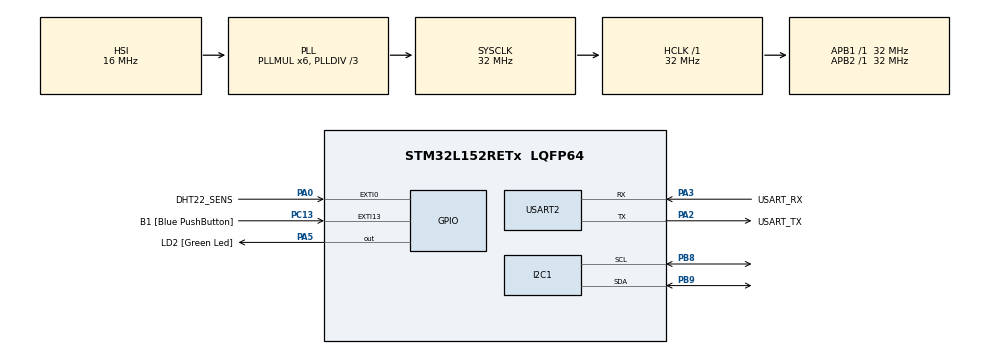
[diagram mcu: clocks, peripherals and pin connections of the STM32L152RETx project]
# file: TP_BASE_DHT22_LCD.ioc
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Mcu.Family=STM32L1
Mcu.Name=STM32L152RETx
Mcu.Package=LQFP64
NVIC.EXTI0_IRQn=true\:0\:0\:false\:false\:true\:true\:true
NVIC.I2C1_ER_IRQn=true\:0\:0\:false\:false\:true\:true\:true
NVIC.I2C1_EV_IRQn=true\:0\:0\:false\:false\:true\:true\:true
NVIC.PriorityGroup=NVIC_PRIORITYGROUP_0
NVIC.TIM7_IRQn=true\:0\:0\:false\:false\:true\:true\:true
PA0-WKUP1.GPIO_Label=DHT22_SENS
PA0-WKUP1.GPIO_PuPd=GPIO_PULLUP
PA0-WKUP1.Signal=GPXTI0
PA13.GPIO_Label=TMS
PA13.Mode=Serial_Wire
PA13.Signal=SYS_JTMS-SWDIO
PA14.GPIO_Label=TCK
PA14.Mode=Serial_Wire
PA14.Signal=SYS_JTCK-SWCLK
PA2.GPIO_Label=USART_TX
PA2.Mode=Asynchronous
PA2.Signal=USART2_TX
PA3.GPIO_Label=USART_RX
PA3.Mode=Asynchronous
PA3.Signal=USART2_RX
PA5.GPIO_Label=LD2 [Green Led]
PA5.Signal=GPIO_Output
PB3.GPIO_Label=SWO
PB3.Signal=SYS_JTDO-TRACESWO
PB8.GPIO_Pu=GPIO_PULLUP
PB8.Mode=I2C
PB8.Signal=I2C1_SCL
PB9.GPIO_Pu=GPIO_PULLUP
PB9.Mode=I2C
PB9.Signal=I2C1_SDA
PC13-WKUP2.GPIO_Label=B1 [Blue PushButton]
PC13-WKUP2.Signal=GPXTI13
PC14-OSC32_IN.Mode=LSE-External-Oscillator
PC14-OSC32_IN.Signal=RCC_OSC32_IN
PC15-OSC32_OUT.Mode=LSE-External-Oscillator
PC15-OSC32_OUT.Signal=RCC_OSC32_OUT
PH0-OSC_IN.Mode=HSE-External-Clock-Source
PH0-OSC_IN.Signal=RCC_OSC_IN
PH1-OSC_OUT.Signal=RCC_OSC_OUT
ProjectManager.HeapSize=0x200
ProjectManager.StackSize=0x400
ProjectManager.TargetToolchain=STM32CubeIDE
RCC.48MHZClocksFreq_Value=48000000
RCC.AHBFreq_Value=32000000
RCC.APB1Freq_Value=32000000
RCC.APB1TimFreq_Value=32000000
RCC.APB2Freq_Value=32000000
RCC.APB2TimFreq_Value=32000000
RCC.HCLKFreq_Value=32000000
RCC.HSE_VALUE=8000000
RCC.HSI_VALUE=16000000
RCC.MSI_VALUE=2097000
RCC.PLLDIV=RCC_PLL_DIV3
RCC.PLLMUL=RCC_PLL_MUL6
RCC.RTCClockSelectionVirtual=RCC_RTCCLKSOURCE_LSE
RCC.SYSCLKFreq_VALUE=32000000
RCC.SYSCLKSource=RCC_SYSCLKSOURCE_PLLCLK
RCC.USBOutput=48000000
RCC.VCOOutputFreq_Value=96000000
TIM7.Period=10-1
TIM7.Prescaler=32-1
USART2.VirtualMode=VM_ASYNC
VP_TIM7_VS_ClockSourceINT.Mode=Enable_Timer
board=NUCLEO-L152RE

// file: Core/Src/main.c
/* USER CODE BEGIN Header */
/**
  ******************************************************************************
  * @file           : main.c
  * @brief          : Main program body
  ******************************************************************************
  * @attention
  *
  * <h2><center>&copy; Copyright (c) 2021 STMicroelectronics.
  * All rights reserved.</center></h2>
  *
  * This software component is licensed by ST under BSD 3-Clause license,
  * the "License"; You may not use this file except in compliance with the
  * License. You may obtain a copy of the License at:
  *                        opensource.org/licenses/BSD-3-Clause
  *
  ******************************************************************************
  */
/* USER CODE END Header */
#include "main.h"
#include "i2c.h"
#include "tim.h"
#include "usart.h"
#include "gpio.h"

/* USER CODE BEGIN Includes */
#include "lib_lcd.h"
#include "DHT22.h"
#include <stdio.h>
/* USER CODE END Includes */

void SystemClock_Config(void);

int main(void)
{

  /* MCU Configuration--------------------------------------------------------*/

  /* Reset of all peripherals, Initializes the Flash interface and the Systick. */
  HAL_Init();

  /* Configure the system clock */
  SystemClock_Config();

  /* Initialize all configured peripherals */
  MX_GPIO_Init();
  MX_USART2_UART_Init();
  MX_I2C1_Init();
  MX_TIM7_Init();
  /* USER CODE BEGIN 2 */

	  /* INIT LCD */
	  rgb_lcd LCD_DataStruct;
	  LCD_DataStruct._displaycontrol = LCD_DISPLAYON;
	  LCD_DataStruct._displayfunction = LCD_2LINE;
	  LCD_DataStruct._displaymode = LCD_ENTRYLEFT;

	  lcd_init(&hi2c1, &LCD_DataStruct);

	  reglagecouleur(255,0,0);

	  /* INIT DHT22 */
	  DHT22_Init(&htim7, 32e6,DHT22_SENS_GPIO_Port,DHT22_SENS_Pin, DHT22_SENS_EXTI_IRQn);

	  /* TEST : Print measures on the LCD screen */
	  DHT22_Data DHT22_DataStruct;

	 	char text_buff1[32];
	 	sprintf(text_buff1,"  STM32 - TP");
	 	lcd_position(&hi2c1,0,0);
	 	lcd_print(&hi2c1, text_buff1);

	 	char text_buff2[32];
		sprintf(text_buff2, "  DHT22 - 1wire");
		lcd_position(&hi2c1,0,1);
		lcd_print(&hi2c1, text_buff2);
		HAL_Delay(1500);

		lcd_init(&hi2c1, &LCD_DataStruct);

  /* USER CODE END 2 */

  /* Infinite loop */
  while (1)
  {

	  reglagecouleur(125,0,0);
	  HAL_Delay(500);

	  DHT22_DataStruct = DHT22_ReadData();
	  if(DHT22_DataStruct.is_data_valid)
	  {
		  char text_buff[32];
		  sprintf(text_buff,"Temp : %.2f C",DHT22_DataStruct.T);
		  lcd_position(&hi2c1,0,0);
		  lcd_print(&hi2c1, text_buff);

		  sprintf(text_buff,"Hum  : %.2f %%",DHT22_DataStruct.RH);
		  lcd_position(&hi2c1,0,1);
		  lcd_print(&hi2c1, text_buff);

		  reglagecouleur(200,200,255);
		  HAL_Delay(750);
	  }

  }
}

void SystemClock_Config(void)
{
  RCC_OscInitTypeDef RCC_OscInitStruct = {0};
  RCC_ClkInitTypeDef RCC_ClkInitStruct = {0};

  /** Configure the main internal regulator output voltage
  */
  __HAL_PWR_VOLTAGESCALING_CONFIG(PWR_REGULATOR_VOLTAGE_SCALE1);
  /** Initializes the RCC Oscillators according to the specified parameters
  * in the RCC_OscInitTypeDef structure.
  */
  RCC_OscInitStruct.OscillatorType = RCC_OSCILLATORTYPE_HSI;
  RCC_OscInitStruct.HSIState = RCC_HSI_ON;
  RCC_OscInitStruct.HSICalibrationValue = RCC_HSICALIBRATION_DEFAULT;
  RCC_OscInitStruct.PLL.PLLState = RCC_PLL_ON;
  RCC_OscInitStruct.PLL.PLLSource = RCC_PLLSOURCE_HSI;
  RCC_OscInitStruct.PLL.PLLMUL = RCC_PLL_MUL6;
  RCC_OscInitStruct.PLL.PLLDIV = RCC_PLL_DIV3;
  if (HAL_RCC_OscConfig(&RCC_OscInitStruct) != HAL_OK)
  {
    Error_Handler();
  }
  /** Initializes the CPU, AHB and APB buses clocks
  */
  RCC_ClkInitStruct.ClockType = RCC_CLOCKTYPE_HCLK|RCC_CLOCKTYPE_SYSCLK
                              |RCC_CLOCKTYPE_PCLK1|RCC_CLOCKTYPE_PCLK2;
  RCC_ClkInitStruct.SYSCLKSource = RCC_SYSCLKSOURCE_PLLCLK;
  RCC_ClkInitStruct.AHBCLKDivider = RCC_SYSCLK_DIV1;
  RCC_ClkInitStruct.APB1CLKDivider = RCC_HCLK_DIV1;
  RCC_ClkInitStruct.APB2CLKDivider = RCC_HCLK_DIV1;

  if (HAL_RCC_ClockConfig(&RCC_ClkInitStruct, FLASH_LATENCY_1) != HAL_OK)
  {
    Error_Handler();
  }
}

void Error_Handler(void)
{
  __disable_irq();
  while (1)
  {
  }
}

/************************ (C) COPYRIGHT STMicroelectronics *****END OF FILE****/
